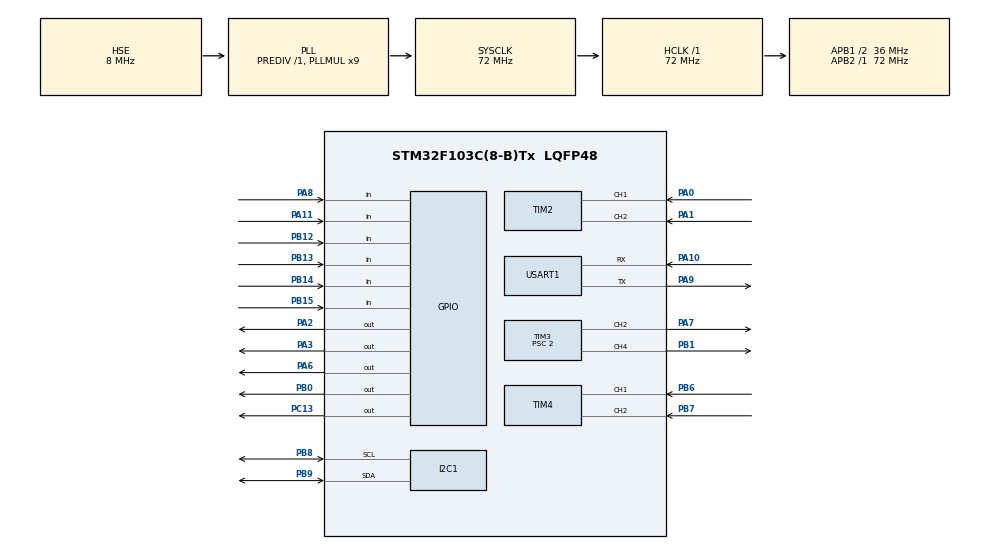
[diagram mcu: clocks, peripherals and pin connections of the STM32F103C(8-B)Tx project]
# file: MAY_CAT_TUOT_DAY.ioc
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Mcu.Family=STM32F1
Mcu.Name=STM32F103C(8-B)Tx
Mcu.Package=LQFP48
NVIC.PriorityGroup=NVIC_PRIORITYGROUP_4
PA0-WKUP.GPIO_PuPd=GPIO_PULLUP
PA0-WKUP.Signal=S_TIM2_CH1_ETR
PA1.GPIO_PuPd=GPIO_PULLUP
PA1.Signal=S_TIM2_CH2
PA10.Mode=Asynchronous
PA10.Signal=USART1_RX
PA11.Signal=GPIO_Input
PA13.Mode=Serial_Wire
PA13.Signal=SYS_JTMS-SWDIO
PA14.Mode=Serial_Wire
PA14.Signal=SYS_JTCK-SWCLK
PA2.Signal=GPIO_Output
PA3.Signal=GPIO_Output
PA6.Signal=GPIO_Output
PA7.Signal=S_TIM3_CH2
PA8.GPIO_PuPd=GPIO_PULLUP
PA8.Signal=GPIO_Input
PA9.Mode=Asynchronous
PA9.Signal=USART1_TX
PB0.Signal=GPIO_Output
PB1.Signal=S_TIM3_CH4
PB12.GPIO_PuPd=GPIO_PULLUP
PB12.Signal=GPIO_Input
PB13.GPIO_PuPd=GPIO_PULLUP
PB13.Signal=GPIO_Input
PB14.GPIO_PuPd=GPIO_PULLUP
PB14.Signal=GPIO_Input
PB15.GPIO_PuPd=GPIO_PULLUP
PB15.Signal=GPIO_Input
PB6.GPIO_PuPd=GPIO_PULLUP
PB6.Signal=S_TIM4_CH1
PB7.GPIO_PuPd=GPIO_PULLUP
PB7.Signal=S_TIM4_CH2
PB8.Mode=I2C
PB8.Signal=I2C1_SCL
PB9.Mode=I2C
PB9.Signal=I2C1_SDA
PC13-TAMPER-RTC.Signal=GPIO_Output
PD0-OSC_IN.Mode=HSE-External-Oscillator
PD0-OSC_IN.Signal=RCC_OSC_IN
PD1-OSC_OUT.Mode=HSE-External-Oscillator
PD1-OSC_OUT.Signal=RCC_OSC_OUT
ProjectManager.HeapSize=0x200
ProjectManager.StackSize=0x400
ProjectManager.TargetToolchain=MDK-ARM V5.32
RCC.AHBFreq_Value=72000000
RCC.APB1CLKDivider=RCC_HCLK_DIV2
RCC.APB1Freq_Value=36000000
RCC.APB1TimFreq_Value=72000000
RCC.APB2Freq_Value=72000000
RCC.APB2TimFreq_Value=72000000
RCC.HCLKFreq_Value=72000000
RCC.PLLMUL=RCC_PLL_MUL9
RCC.PLLSourceVirtual=RCC_PLLSOURCE_HSE
RCC.SYSCLKFreq_VALUE=72000000
RCC.SYSCLKSource=RCC_SYSCLKSOURCE_PLLCLK
RCC.USBFreq_Value=72000000
SH.S_TIM2_CH1_ETR.0=TIM2_CH1,Encoder_Interface
SH.S_TIM2_CH2.0=TIM2_CH2,Encoder_Interface
SH.S_TIM3_CH2.0=TIM3_CH2,PWM Generation2 CH2
SH.S_TIM3_CH4.0=TIM3_CH4,PWM Generation4 CH4
SH.S_TIM4_CH1.0=TIM4_CH1,Encoder_Interface
SH.S_TIM4_CH2.0=TIM4_CH2,Encoder_Interface
TIM1.Prescaler=71
TIM2.EncoderMode=TIM_ENCODERMODE_TI1
TIM2.IC2Polarity=TIM_ICPOLARITY_RISING
TIM3.Channel-PWM\ Generation2\ CH2=TIM_CHANNEL_2
TIM3.Channel-PWM\ Generation4\ CH4=TIM_CHANNEL_4
TIM3.Period=4000
TIM3.Prescaler=2
TIM3.Pulse-PWM\ Generation2\ CH2=200
TIM3.Pulse-PWM\ Generation4\ CH4=200
USART1.VirtualMode=VM_ASYNC
VP_TIM1_VS_ClockSourceINT.Mode=Internal
VP_TIM3_VS_ClockSourceINT.Mode=Internal
board=custom

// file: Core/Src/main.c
/* USER CODE BEGIN Header */
/**
  ******************************************************************************
  * @file           : main.c
  * @brief          : Main program body
  ******************************************************************************
  * @attention
  *
  * Copyright (c) 2023 STMicroelectronics.
  * All rights reserved.
  *
  * This software is licensed under terms that can be found in the LICENSE file
  * in the root directory of this software component.
  * If no LICENSE file comes with this software, it is provided AS-IS.
  *
  ******************************************************************************
  */
/* USER CODE END Header */
#include "main.h"
#include "i2c.h"
#include "tim.h"
#include "usart.h"
#include "gpio.h"
#include "EOS.h"
/* USER CODE BEGIN Includes */
#include "delay.h"
#include "i2c-lcd.h"
#include "port.h"
#include "encoder.h"
#include "dongco.h"
#include <stdio.h>
#include <string.h>
#include <math.h>
/* USER CODE END Includes */

/* USER CODE BEGIN PD */
#define SELECT_PORT		GPIOB
#define BACK_PORT 		GPIOA
#define UP_PORT 			GPIOB
#define DOWN_PORT			GPIOB
#define BUTTON_PORT		GPIOB

#define SELECT_PIN 		GPIO_PIN_15
#define BACK_PIN 			GPIO_PIN_8
#define UP_PIN 				GPIO_PIN_14
#define DOWN_PIN 			GPIO_PIN_13
#define BUTTON_PIN		GPIO_PIN_12

//#define xungdonvi	28,571428
/* USER CODE END PD */

/* USER CODE BEGIN PV */

/* Khai bao bien the hien cac qua trinh chay cua may
	* process = 0; Chay qua trinh tuot day dau 1
	* process = 1; Qua trinh tuot day dau 2
	* process = 2; Qua trinh chay day du do dai
	* process = 3; Qua trinh cat roi nhich dau 2 ra mot doan
	* process = 4; Qua trinh tuot day dau 2
	* process = 5; Qua trinh chay day du do dai

*/
uint8_t process = 0;

/*Khai bao cac bien khac*/
extern uint16_t xungSetDao;
unsigned int a = 0;
char strNum[10];
uint8_t rx_data; //luu byte nhan duoc
uint8_t rx_buff[20]; //buffer luu chuoi nhan duoc
uint8_t _rxIndex; //con tro cua rxbuff

uint8_t tx_data[20]="DA STM32 Hello !!\r ";
uint16_t tx_flag = 0;
//uint8_t tx_data1[2] = (char)a;

uint16_t xung_dem1 = 0 ;
uint16_t xung_dem2 = 0 ;
uint16_t chieuquayEnc = 1; //1 la quay thuan, 0 la quay nghich
uint8_t setdao = 0; // 0 la chua set dao, 1 la da set dao
uint8_t sethienthisoluong = 0; // 0 la

uint32_t trangthaimay = 0; // 0 la may tat, 1 la may bat
int loiday = 1;
int dodai = 200;
int dodaidautuot = 10;
int soluong = 1;
int soluonghientai = 0;

//Khai bao cac bien la so xung cua cac thong so

/*Khi vao while tinh cac gia tri xung*/

/*	  xung loi day =
			xungDoDao = dodai*xungdonvi
			xungDodaituot = dodaituot*xungdonvi
*/
float xungdonvi	= 28.571428;
uint16_t xungLoiday = 1500; // xung loi day cho biet; 1600 tuong duong vs dao di dc 1mm
uint16_t xungDodai = 6286;
uint16_t xungDodaidautuot = 400;//143

char control = 0;
char buffer1[5];
char buffer2[5];
char buffer3[5];
char buffer4[5];
char buffer5[5];
uint8_t select = 0; // demtong
uint8_t back = 0; // demback
uint8_t up = 0;
uint8_t down = 0;
uint16_t count_menu1 = 0;
uint16_t count_menu2 = 0;
uint16_t count_menu3 = 0;
uint32_t up_down_main = 0;
uint32_t up_down_menuBatTat = 0;
uint32_t up_down_menuXacNhan = 0;
uint32_t up_down_menuThongSo = 0;
/* USER CODE END PV */

void SystemClock_Config(void);
/* USER CODE BEGIN PFP */
void numUart(unsigned int num); //Ham hien thi len UART mot so nguyen duong

void mayCatTuot_Start(void);
void mayCatTuot_Stop(void);

//Khai bao cac chuong trinh cho menu
void home_screen(void);
void main_menu(void);
void select_main_menu(void);
void menuBatTat(void);
void select_menuCaiDat(void);
void select_menuBatTat(void);

void select_menuThongSo(void);
void thongSo(void);
void menuXacNhan(void);
void select_menuXacNhan(void);

void ok_ThongSo(void);
void change_ThongSo(void);
void select_button(void);
void back_button(void);
void up_button(void);
void down_button(void);

/* USER CODE END PFP */

//int xungCat = 3199;
int main(void)
{
  /* USER CODE BEGIN 1 */
	uint8_t MSG[50] = {'\0'};
  /* USER CODE END 1 */

  /* MCU Configuration--------------------------------------------------------*/

  /* Reset of all peripherals, Initializes the Flash interface and the Systick. */
  HAL_Init();

  /* Configure the system clock */
  SystemClock_Config();

  /* Initialize all configured peripherals */
  MX_GPIO_Init();
  MX_TIM1_Init();
  MX_TIM2_Init();
  MX_TIM3_Init();
  MX_USART1_UART_Init();
  MX_TIM4_Init();
  MX_I2C1_Init();

  /* USER CODE BEGIN 2 */
	HAL_TIM_Base_Start(&htim1); // Khoi dong timer1 tao delay
	ENC1_START; //Khoi dong doc Encoder 1
	ENC2_START;	//Khoi dong doc Encoder 2
	lcd_init();
	lcd_clear();
	lcd_put_cur(0,2);
	lcd_send_string("DAI HOC CAN THO");
	lcd_put_cur(1,2);
	lcd_send_string("TRUONG BACH KHOA");
	lcd_put_cur(2,0);
	lcd_send_string("  ================ ");
	lcd_put_cur(3,2);
	lcd_send_string("MAY CAT TUOT DAY");
	delay_ms(500);
	home_screen();

	HAL_GPIO_WritePin(GPIOC,GPIO_PIN_13,GPIO_PIN_SET);
	EOS_init(1);
	setValueEnc1(32000);
	setValueEnc2(32000);

	setdao = 0;
  /* USER CODE END 2 */

  /* Infinite loop */
  while (1)
  {

    /* USER CODE BEGIN 3 */

		xungDodai = round(dodai*xungdonvi);
		xungDodaidautuot = round(dodaidautuot*xungdonvi);
		xungLoiday = loiday*1500;

		if(trangthaimay == 1 && setdao == 1){
			if(process == 0){
				MOTOR1_QUAYTHUAN;
				MOTOR1_START;
				MOTOR2_QUAYTHUAN;
				MOTOR2_START;
				if(xung_dem1 >= (32000 + xungDodaidautuot)){
					MOTOR1_STOP;
					MOTOR2_STOP;
					setValueEnc1(32000);
					setValueEnc2(32000);
					tuotday_xuong(xungSetDao - xungLoiday);
					process = 1;
				}
			}

			// keo day tuot dau 1, nhac dao tuot len
			if(process == 1){
				MOTOR1_QUAYNGHICH;
				MOTOR1_START;
				MOTOR2_QUAYNGHICH;
				MOTOR2_START;
				if(xung_dem1 <= (32000 - 100)){
					MOTOR1_STOP;
					setValueEnc1(32000);
					MOTOR2_STOP;
					setValueEnc2(32000);
					tuotday_len(xungSetDao - xungLoiday);
					process = 2;
				}
			}

			//Do do dai day 5
			if(process == 2){
				MOTOR1_QUAYTHUAN;
				MOTOR1_START;
				MOTOR2_QUAYTHUAN;
				MOTOR2_START;
				if(xung_dem1 >= (32000 + 100 + (xungDodai - 2*xungDodaidautuot))){
					setValueEnc1(32000);
					setValueEnc2(32000);
					MOTOR1_STOP;
					MOTOR2_STOP;
					tuotday_xuong(xungSetDao - xungLoiday);
					process = 3;
				}
			}

			if(process == 3){
				MOTOR1_QUAYNGHICH;
				MOTOR1_START;
				MOTOR2_QUAYNGHICH;
				MOTOR2_START;
				if(xung_dem1 <= (32000 - 100)){
					setValueEnc1(32000);
					setValueEnc2(32000);
					MOTOR1_STOP;
					MOTOR2_STOP;
					tuotday_len(xungSetDao - xungLoiday);
					process = 4;
				}
			}

			if(process == 4){
				MOTOR1_QUAYTHUAN;
				MOTOR1_START;
				MOTOR2_QUAYTHUAN;
				MOTOR2_START;
				if(xung_dem1 >= (32000 + (xungDodaidautuot - 100))){
					setValueEnc1(32000);
					setValueEnc2(32000);
					MOTOR1_STOP;
					MOTOR2_STOP;
					catDay();
					soluonghientai++; // Dem so luong day da hoan thanh
					if(soluonghientai == soluong) {
						trangthaimay = 0;
						sethienthisoluong = 0;
						process = 5;
					} else {
						process = 0;
					}
				}
			}
		}

		if(process == 5){
				MOTOR2_QUAYTHUAN;
				MOTOR2_START;
				if(xung_dem2 >= (32000 + xungDodai + 600 )){
					setValueEnc2(32000);
					MOTOR2_STOP;
					process = 0;
				}
			}

		if(trangthaimay == 0){
					MOTOR1_STOP;
					MOTOR2_STOP;
				}

		//	 Doan code menu lcd
		if(control == 0){
			if(select == 0) home_screen();
			select_button();
			back_button();
			up_button();
			down_button();
			ok_ThongSo();
		}

		if(control == 1){
			change_ThongSo();
			ok_ThongSo();
		}
	}
  /* USER CODE END 3 */
}

void SystemClock_Config(void)
{
  RCC_OscInitTypeDef RCC_OscInitStruct = {0};
  RCC_ClkInitTypeDef RCC_ClkInitStruct = {0};

  /** Initializes the RCC Oscillators according to the specified parameters
  * in the RCC_OscInitTypeDef structure.
  */
  RCC_OscInitStruct.OscillatorType = RCC_OSCILLATORTYPE_HSE;
  RCC_OscInitStruct.HSEState = RCC_HSE_ON;
  RCC_OscInitStruct.HSEPredivValue = RCC_HSE_PREDIV_DIV1;
  RCC_OscInitStruct.HSIState = RCC_HSI_ON;
  RCC_OscInitStruct.PLL.PLLState = RCC_PLL_ON;
  RCC_OscInitStruct.PLL.PLLSource = RCC_PLLSOURCE_HSE;
  RCC_OscInitStruct.PLL.PLLMUL = RCC_PLL_MUL9;
  if (HAL_RCC_OscConfig(&RCC_OscInitStruct) != HAL_OK)
  {
    Error_Handler();
  }

  /** Initializes the CPU, AHB and APB buses clocks
  */
  RCC_ClkInitStruct.ClockType = RCC_CLOCKTYPE_HCLK|RCC_CLOCKTYPE_SYSCLK
                              |RCC_CLOCKTYPE_PCLK1|RCC_CLOCKTYPE_PCLK2;
  RCC_ClkInitStruct.SYSCLKSource = RCC_SYSCLKSOURCE_PLLCLK;
  RCC_ClkInitStruct.AHBCLKDivider = RCC_SYSCLK_DIV1;
  RCC_ClkInitStruct.APB1CLKDivider = RCC_HCLK_DIV2;
  RCC_ClkInitStruct.APB2CLKDivider = RCC_HCLK_DIV1;

  if (HAL_RCC_ClockConfig(&RCC_ClkInitStruct, FLASH_LATENCY_2) != HAL_OK)
  {
    Error_Handler();
  }
}

/* USER CODE BEGIN 4 */

void SysTick_Handler(void)
{
	xung_dem1 = ENC1_XUNG; //Doc xung Encoder 1
	xung_dem2 = ENC2_XUNG; //Doc xung Encoder 2
}

void numUart(unsigned int num){
	sprintf(strNum,"%d",num); // chuyen so thanh chuoi
	HAL_UART_Transmit(&huart1, ((unsigned char*)strNum), sizeof(strNum), 100);
}

void home_screen(void){
	lcd_put_cur(0,0);
	lcd_send_string("MAY CAT VA TUOT DAY");
	if(trangthaimay == 1){
		lcd_put_cur(1,0);
		lcd_send_string("TRANG THAI MAY: BAT");
	}
	if(trangthaimay == 0){
		lcd_put_cur(1,0);
		lcd_send_string("TRANG THAI MAY: TAT");
	}
	lcd_put_cur(2,0);
	lcd_send_string("SL HIEN TAI: ");
	sprintf(buffer5,"%.3d",soluonghientai);
	lcd_send_string(buffer5);
	lcd_send_cmd(0x80|0x24);
	lcd_send_string(" day");
	lcd_put_cur(3,0);
	lcd_send_string(">THONG SO");
}

void thongSo(void){
	lcd_put_cur(0,0);
		lcd_send_string("DK LOI DAY DIEN ");
		sprintf(buffer1,"%.3d",loiday);
		lcd_send_string(buffer1);
		lcd_put_cur(1,0);
		lcd_send_string("DO DAI DAY      ");
		sprintf(buffer2,"%.3d",dodai);
		lcd_send_string(buffer2);
		lcd_put_cur(2,0);
		lcd_send_string("DO DAI DAU TUOT ");
		sprintf(buffer3,"%.3d",dodaidautuot);
		lcd_send_string(buffer3);
		lcd_put_cur(3,0);
		lcd_send_string("SO LUONG        ");
		sprintf(buffer4,"%.3d",soluong);
		lcd_send_string(buffer4);
}

void main_menu(void){
	if(up_down_main == 0){
		lcd_put_cur(0,0);
		lcd_send_string(" MAY CAT VA TUOT DAY");
		lcd_put_cur(1,0);
		lcd_send_string(">BAT/TAT MAY");
		lcd_put_cur(2,0);
		lcd_send_string(" CAI DAT THONG SO");
		lcd_put_cur(3,0);
		lcd_send_string(" XEM THONG SO DA CAI");
	}
	if(up_down_main == 1){
		lcd_put_cur(0,0);
		lcd_send_string(" MAY CAT VA TUOT DAY");
		lcd_put_cur(1,0);
		lcd_send_string(" BAT/TAT MAY");
		lcd_put_cur(2,0);
		lcd_send_string(">CAI DAT THONG SO");
		lcd_put_cur(3,0);
		lcd_send_string(" XEM THONG SO DA CAI");
	}
	if(up_down_main == 2){
		lcd_put_cur(0,0);
		lcd_send_string(" MAY CAT VA TUOT DAY");
		lcd_put_cur(1,0);
		lcd_send_string(" BAT/TAT MAY");
		lcd_put_cur(2,0);
		lcd_send_string(" CAI DAT THONG SO");
		lcd_put_cur(3,0);
		lcd_send_string(">XEM THONG SO DA CAI");
	}
}

void select_main_menu(void){
	switch(up_down_main){
		case 0:{
			lcd_put_cur(0,0);
			lcd_send_string("MAY CAT VA TUOT DAY");
			lcd_put_cur(1,0);
			lcd_send_string("  ================ ");
			lcd_put_cur(2,0);
			lcd_send_string("DA BAT MAY");
			GPIOC->BSRR = GPIO_PIN_13<<16u;
			break;
		}
		case 1:{
			lcd_put_cur(0,0);
			lcd_send_string("MAY CAT VA TUOT DAY");
			lcd_put_cur(1,0);
			lcd_send_string("  ================ ");
			lcd_put_cur(2,0);
			lcd_send_string("DA TAT MAY");
			GPIOC->BSRR = GPIO_PIN_13;
			break;
		}
	}
}

void menuBatTat(void){
	if(up_down_menuBatTat == 0){
		lcd_put_cur(0,0);
		lcd_send_string("MAY CAT VA TUOT DAY");
		lcd_put_cur(1,0);
		lcd_send_string("  ================ ");
		lcd_put_cur(2,0);
		lcd_send_string(">BAT MAY");
		lcd_put_cur(3,0);
		lcd_send_string(" TAT MAY");
	}
	if(up_down_menuBatTat == 1){
		lcd_put_cur(0,0);
		lcd_send_string("MAY CAT VA TUOT DAY");
		lcd_put_cur(1,0);
		lcd_send_string("  ================ ");
		lcd_put_cur(2,0);
		lcd_send_string(" BAT MAY");
		lcd_put_cur(3,0);
		lcd_send_string(">TAT MAY");
	}
}

void select_menuBatTat(void){
	switch(up_down_menuBatTat){
		case 0:{
			if(setdao == 1){
				lcd_put_cur(0,0);
				lcd_send_string("MAY CAT VA TUOT DAY");
				lcd_put_cur(1,0);
				lcd_send_string("  ================ ");
				lcd_put_cur(2,0);
				lcd_send_string("DA BAT MAY");
				trangthaimay = 1;

				if(sethienthisoluong == 0) {
					soluonghientai = 0;
					sethienthisoluong = 1;
				}

				break;
			} else {
				lcd_put_cur(0,0);
				lcd_send_string("MAY CAT VA TUOT DAY");
				lcd_put_cur(1,0);
				lcd_send_string("  ================ ");
				lcd_put_cur(2,0);
				lcd_send_string("    CHUA SET DAO   ");
				lcd_put_cur(3,0);
				lcd_send_string("  VUI LONG SET DAO ");
				break;
			}
		}
		case 1:{
			lcd_put_cur(0,0);
			lcd_send_string("MAY CAT VA TUOT DAY");
			lcd_put_cur(1,0);
			lcd_send_string("  ================ ");
			lcd_put_cur(2,0);
			lcd_send_string("DA TAT MAY");
			trangthaimay = 0;
			GPIOC->BSRR = GPIO_PIN_13;
			break;
		}
	}
}

void select_menuCaiDat(void){
	switch(trangthaimay){
		case 1:{ //May dang chay
			menuXacNhan();
			break;
		}
		case 0:{ //May da tat
			control = 1;
			change_ThongSo();
			break;
		}
	}
}

void menuXacNhan(void){
	if(up_down_menuXacNhan == 0){
		lcd_put_cur(0,0);
		lcd_send_string("BAN CO MUON TAT MAY");
		lcd_put_cur(1,0);
		lcd_send_string("DE THAY DOI THONG SO");
		lcd_put_cur(2,0);
		lcd_send_string(">CO                 ");
		lcd_put_cur(3,0);
		lcd_send_string(" KHONG              ");
	}
	if(up_down_menuXacNhan == 1){
		lcd_put_cur(0,0);
		lcd_send_string("BAN CO MUON TAT MAY");
		lcd_put_cur(1,0);
		lcd_send_string("DE THAY DOI THONG SO");
		lcd_put_cur(2,0);
		lcd_send_string(" CO                 ");
		lcd_put_cur(3,0);
		lcd_send_string(">KHONG              ");
	}
}

void select_menuXacNhan(void){
	switch(up_down_menuXacNhan){
		case 0:{
			trangthaimay = 0;
			control = 1;
			select_menuThongSo();
			break;
		}
		case 1:{ // Thoat ra menu truoc do
			select = 1;
			up_down_main = 0;
			main_menu();
			count_menu2 = 0;
			break;
		}
	}
}

void select_menuThongSo(void){
	if(up_down_menuThongSo == 0){
		lcd_put_cur(0,0);
		lcd_send_string(">DK LOI DAY DIEN ");
		sprintf(buffer1,"%.3d",loiday);
		lcd_send_string(buffer1);
		lcd_put_cur(1,0);
		lcd_send_string(" DO DAI DAY      ");
		sprintf(buffer2,"%.3d",dodai);
		lcd_send_string(buffer2);
		lcd_put_cur(2,0);
		lcd_send_string(" DO DAI DAU TUOT ");
		sprintf(buffer3,"%.3d",dodaidautuot);
		lcd_send_string(buffer3);
		lcd_put_cur(3,0);
		lcd_send_string(" SO LUONG        ");
		sprintf(buffer4,"%.3d",soluong);
		lcd_send_string(buffer4);
	}

	if(up_down_menuThongSo == 1){
		lcd_put_cur(0,0);
		lcd_send_string(" DK LOI DAY DIEN ");
		sprintf(buffer1,"%.3d",loiday);
		lcd_send_string(buffer1);
		lcd_put_cur(1,0);
		lcd_send_string(">DO DAI DAY      ");
		sprintf(buffer2,"%.3d",dodai);
		lcd_send_string(buffer2);
		lcd_put_cur(2,0);
		lcd_send_string(" DO DAI DAU TUOT ");
		sprintf(buffer3,"%.3d",dodaidautuot);
		lcd_send_string(buffer3);
		lcd_put_cur(3,0);
		lcd_send_string(" SO LUONG        ");
		sprintf(buffer4,"%.3d",soluong);
		lcd_send_string(buffer4);
	}
	if(up_down_menuThongSo == 2){
		lcd_put_cur(0,0);
		lcd_send_string(" DK LOI DAY DIEN ");
		sprintf(buffer1,"%.3d",loiday);
		lcd_send_string(buffer1);
		lcd_put_cur(1,0);
		lcd_send_string(" DO DAI DAY      ");
		sprintf(buffer2,"%.3d",dodai);
		lcd_send_string(buffer2);
		lcd_put_cur(2,0);
		lcd_send_string(">DO DAI DAU TUOT ");
		sprintf(buffer3,"%.3d",dodaidautuot);
		lcd_send_string(buffer3);
		lcd_put_cur(3,0);
		lcd_send_string(" SO LUONG        ");
		sprintf(buffer4,"%.3d",soluong);
		lcd_send_string(buffer4);
	}
	if(up_down_menuThongSo == 3){
		lcd_put_cur(0,0);
		lcd_send_string(" DK LOI DAY DIEN ");
		sprintf(buffer1,"%.3d",loiday);
		lcd_send_string(buffer1);
		lcd_put_cur(1,0);
		lcd_send_string(" DO DAI DAY      ");
		sprintf(buffer2,"%.3d",dodai);
		lcd_send_string(buffer2);
		lcd_put_cur(2,0);
		lcd_send_string(" DO DAI DAU TUOT ");
		sprintf(buffer3,"%.3d",dodaidautuot);
		lcd_send_string(buffer3);
		lcd_put_cur(3,0);
		lcd_send_string(">SO LUONG        ");
		sprintf(buffer4,"%.3d",soluong);
		lcd_send_string(buffer4);
	}
}

void up_button(void){
if((UP_PORT->IDR&UP_PIN)==0){
	delay_ms(10);
	if((UP_PORT->IDR&UP_PIN)==0){
		while((UP_PORT->IDR&UP_PIN)==0){}
	/*-------------scroll up in main_menu---------*/
			if(select == 1){ //
				if(up_down_main >= 2) up_down_main = 0;
					else up_down_main++;
				main_menu();
			}
	/*-------------scroll up in menuBatTat------------*/
			if(select == 2 && up_down_main == 0){
				if(up_down_menuBatTat >= 1) up_down_menuBatTat = 0;
					else up_down_menuBatTat++;
				menuBatTat();
			}
	/*----------scroll up in menuXacNhan----------*/
			if(select == 2 && up_down_main == 1){
				if(up_down_menuXacNhan >= 1) up_down_menuXacNhan = 0;
					else up_down_menuXacNhan++;
				menuXacNhan();
			}
		}
	}
}

void down_button(void){
	if((DOWN_PORT->IDR&DOWN_PIN)==0){
		delay_ms(10);
		if((DOWN_PORT->IDR&DOWN_PIN)==0){
			while((DOWN_PORT->IDR&DOWN_PIN)==0){}
		/*----------scroll down in main_menu---------*/
			if(select == 1){
				if(up_down_main <= 0) up_down_main = 2;
					else up_down_main--;
				main_menu();
			}
		/*-----------scroll down in menuBatTat-----------*/
			if((select == 2) && (up_down_main == 0)){
				if(up_down_menuBatTat <= 0) up_down_menuBatTat = 1;
					else up_down_menuBatTat--;
				menuBatTat();
			}
		/*----------scroll up in menuXacNhan----------*/
			if(select == 2 && up_down_main == 1){
				if(up_down_menuXacNhan <= 0) up_down_menuXacNhan = 1;
					else up_down_menuXacNhan--;
				menuXacNhan();
			}
		}
	}
}

void back_button(void){
	if((BACK_PORT->IDR&BACK_PIN)==0){
		delay_ms(10);
		if((BACK_PORT->IDR&BACK_PIN)==0){
			while((BACK_PORT->IDR&BACK_PIN)==0){
			}
			if(select > 0) lcd_clear();
			//-----do some thing-----------
			if((select == 1) && (up_down_main == 0)) {home_screen();select--;} 					// back to home_screen
			if((select == 2) && (up_down_main == 0)) {main_menu();select--; count_menu1 = 0;} 	// back to main_menu
			if((select == 3) && (count_menu1 == 1)) {menuBatTat();select--;} 										// back to menuBatTat
			if((select == 3) && (count_menu1 == 2)) {menuBatTat();select--; count_menu1--;} 			//back to menuBatTat
			if((select == 4) && (count_menu1 == 2)) {select--;}						//

			if((select == 1) && (up_down_main == 1)) {home_screen();select--;} 					// back to home_screen
			if((select == 2) && (up_down_main == 1)) {main_menu();select--; count_menu2 = 0;}	//
			if((select == 3) && (count_menu2 == 1)) {select--;}						//

			if((select == 1) && (up_down_main == 2)) {home_screen();select--;}			// back to home_screen
			if((select == 2) && (up_down_main == 2)) {main_menu();select--;count_menu3 = 0;}

		}
	}
}

void select_button(void){
	if((SELECT_PORT->IDR&SELECT_PIN)==0){
		delay_ms(10);
		if((SELECT_PORT->IDR&SELECT_PIN)==0){
			while((SELECT_PORT->IDR&SELECT_PIN)==0){}
			lcd_clear();
			//-----do some thing-----------
			select++;
			//Cac tang cua menu1
			if(select == 1) {main_menu();} 						// Open main_menu
			if(select == 2 && up_down_main == 0) {up_down_menuBatTat = 0; menuBatTat();count_menu1++;}	// Open menuBatTat
			if(select == 3 && count_menu1 == 1) {select_menuBatTat();}
			if(select == 4 && count_menu1 == 1) {select = 3;select_menuBatTat();}

			//Cac tang cua menu2
			if(select == 2 && up_down_main == 1) {count_menu2++;select_menuCaiDat();}
			if(select == 3 && count_menu2 == 1) {select_menuXacNhan();} // Open menu thay doi thong so
			if(select == 4 && count_menu2 == 1) select = 3;

			//Cac tang cua menu3
			if(select == 2 && up_down_main == 2) {thongSo();count_menu3++;}				// Open menu xem thong so da cai dat
			if(select == 3 && count_menu3 == 1) {select = 2;thongSo();}

			if(select >= 4){select = 3;}
		}
	}
}

void ok_ThongSo(void){

	if((BUTTON_PORT->IDR&BUTTON_PIN)==0){
		delay_ms(10);
		if((BUTTON_PORT->IDR&BUTTON_PIN)==0){
			while((BUTTON_PORT->IDR&BUTTON_PIN)==0){
				if((SELECT_PORT->IDR&SELECT_PIN)==0 || ((BACK_PORT->IDR&BACK_PIN)==0) || ((UP_PORT->IDR&UP_PIN)==0)|| ((DOWN_PORT->IDR&DOWN_PIN)==0)){
					control = 0;
				//Thoat ra menu truoc do
					select = 1;
					up_down_main = 0;
					lcd_clear();
					main_menu();
					count_menu2 = 0;
				}
			}

			up_down_menuThongSo++;
			if(up_down_menuThongSo >= 4) up_down_menuThongSo = 0;

			if(trangthaimay == 0 && setdao == 0){ //neu may tat va dao chua set
				setDao();
				HAL_GPIO_TogglePin(GPIOC,GPIO_PIN_13);
				setdao = 1;
			}

		}
	}
}

void change_ThongSo(void){
	select_menuThongSo();
	if((UP_PORT->IDR&UP_PIN)==0) //Count up 10
	{
		delay_ms(10);
		if((UP_PORT->IDR&UP_PIN)==0){
			while((UP_PORT->IDR&UP_PIN)==0){}
				switch(up_down_menuThongSo){
								case 0:{loiday-=10;if(loiday <= 0) loiday = 1;break;}
								case 1: {dodai-=10; if(dodai <= 150) dodai = 150; break;}
								case 2: {dodaidautuot-=10; if(dodaidautuot <= 10) dodaidautuot = 10; break;}
								case 3: {soluong-=10;if(soluong <= 0) soluong = 0; break;}
							}
		}
	}

	if((SELECT_PORT->IDR&SELECT_PIN)==0) //Count up 1
	{
		delay_ms(10);
		if((SELECT_PORT->IDR&SELECT_PIN)==0){
			while((SELECT_PORT->IDR&SELECT_PIN)==0){}
				switch(up_down_menuThongSo){
					case 0: {loiday++;if(loiday >= 2) loiday = 2; break;}
					case 1: {dodai++; break;}
					case 2: {dodaidautuot++;break;}
					case 3: {soluong++;break;}
				}
			}
	}

	if((DOWN_PORT->IDR&DOWN_PIN)==0) //Count down 10
	{
		delay_ms(10);
		if((DOWN_PORT->IDR&DOWN_PIN)==0){
			while((DOWN_PORT->IDR&DOWN_PIN)==0){}
				switch(up_down_menuThongSo){
							case 0: {loiday+=10; if(loiday >= 2) loiday = 2; break;}
							case 1: {dodai+=10; break;}
							case 2: {dodaidautuot+=10;break;}
							case 3: {soluong+=10;break;}
						}
			}
	}

	if((BACK_PORT->IDR&BACK_PIN)==0) //Count down 1
	{
		delay_ms(10);
		if((BACK_PORT->IDR&BACK_PIN)==0){
			while((BACK_PORT->IDR&BACK_PIN)==0){}
				switch(up_down_menuThongSo){
						case 0: {loiday--;if(loiday <= 0) loiday = 1;break;}
						case 1: {dodai--; if(dodai <= 150) dodai = 150; break;}
						case 2: {dodaidautuot--; if(dodaidautuot <= 10) dodaidautuot = 10; break;}
						case 3: {soluong--;if(soluong <= 0) soluong = 0; break;}
					}
		}
	}
}

/* USER CODE END 4 */

void Error_Handler(void)
{
  __disable_irq();
  while (1)
  {
  }
}
